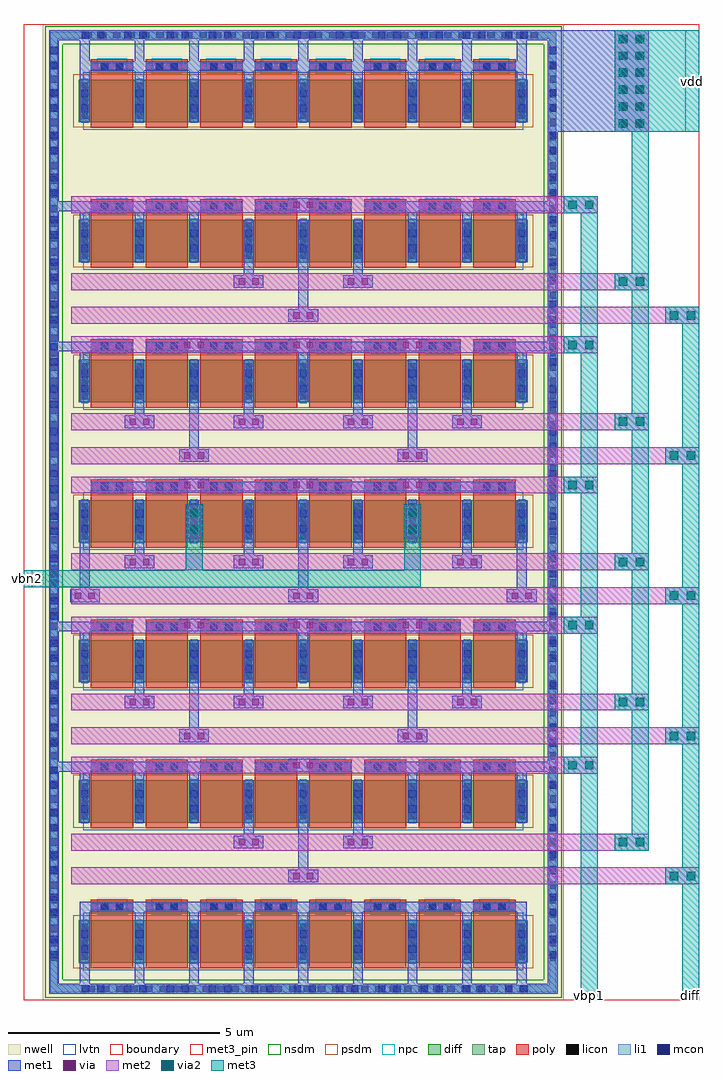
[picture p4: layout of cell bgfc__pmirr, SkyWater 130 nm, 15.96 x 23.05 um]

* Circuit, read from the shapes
.subckt bgfc__pmirr diff vbn2 vbp1 vdd
XM1 vdd vdd vdd vdd sky130_fd_pr__pfet_01v8_lvt w=1 l=1 m=32
XM2 vdd vbp1 diff vdd sky130_fd_pr__pfet_01v8_lvt w=1 l=1 m=16
XM3 vbn2 vbp1 vdd vdd sky130_fd_pr__pfet_01v8_lvt w=1 l=1 m=4
XM4 vbp1 vbp1 vdd vdd sky130_fd_pr__pfet_01v8_lvt w=1 l=1 m=4
.ends

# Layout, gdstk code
from math import pi, radians
import gdstk
lib = gdstk.Library(unit=1e-6, precision=1e-09)
def R(c, l, rs):  # rectangles x0, y0, x1, y1
    for r in rs: c.add(gdstk.rectangle(r[:2], r[2:], *l))
def A(c, l, x, y, w, h, nx, ny, dx, dy):  # array of equal rectangles
    R(c, l, [(x+i*dx, y+j*dy, x+i*dx+w, y+j*dy+h) for i in range(nx) for j in range(ny)])
nwell = (64, 20)
diff = (65, 20)
tap = (65, 44)
poly = (66, 20)
licon = (66, 44)
li1 = (67, 20)
mcon = (67, 44)
met1 = (68, 20)
via = (68, 44)
met2 = (69, 20)
via2 = (69, 44)
met3_pin = (70, 16)
met3 = (70, 20)
nsdm = (93, 44)
psdm = (94, 20)
npc = (95, 20)
lvtn = (125, 44)
boundary = (235, 4)

via__li_m1 = lib.new_cell('via__LI_M1')
R(via__li_m1, li1, [(0.03,0.03,0.56,0.2)])
R(via__li_m1, mcon, [(0.03,0.03,0.2,0.2), (0.39,0.03,0.56,0.2)])
R(via__li_m1, met1, [(0,0,0.59,0.23)])

bgfcpm__dum = lib.new_cell('bgfcpm__DUM')
R(bgfcpm__dum, nwell, [(-0.97,-0.99,0.97,0.82)])
R(bgfcpm__dum, diff, [(-0.79,-0.68,0.79,0.32)])
R(bgfcpm__dum, poly, [(-0.5,-0.81,0.5,0.805)])
A(bgfcpm__dum, licon, -0.73, -0.605, 0.17, 0.17, 1, 3, 0, 0.34)
A(bgfcpm__dum, licon, 0.56, -0.605, 0.17, 0.17, 1, 3, 0, 0.34)
R(bgfcpm__dum, licon, [(-0.255,0.555,-0.085,0.725), (0.085,0.555,0.255,0.725)])
R(bgfcpm__dum, li1, [(-0.73,-0.7,-0.56,0.34), (0.56,-0.7,0.73,0.34), (-0.5,0.555,0.5,0.725)])
R(bgfcpm__dum, mcon, [(-0.73,-0.445,-0.56,-0.275), (0.56,-0.445,0.73,-0.275), (-0.73,-0.085,-0.56,0.085), (0.56,-0.085,0.73,0.085), (-0.265,0.555,-0.095,0.725), (0.095,0.555,0.265,0.725)])
R(bgfcpm__dum, met1, [(-0.76,-0.68,-0.53,0.32), (0.53,-0.68,0.76,0.32), (-0.48,0.525,0.48,0.755)])
R(bgfcpm__dum, psdm, [(-0.915,-0.805,0.915,0.445)])
R(bgfcpm__dum, npc, [(-0.355,0.455,0.355,0.825)])
R(bgfcpm__dum, lvtn, [(-0.68,-0.86,0.68,0.5)])

via__m1_m2 = lib.new_cell('via__M1_M2')
R(via__m1_m2, met1, [(0,0.05,0.7,0.35)])
R(via__m1_m2, via, [(0.115,0.125,0.265,0.275), (0.435,0.125,0.585,0.275)])
R(via__m1_m2, met2, [(0.05,0,0.65,0.4)])

via__m2_m3 = lib.new_cell('via__M2_M3')
R(via__m2_m3, met2, [(0,0,0.8,0.4)])
R(via__m2_m3, via2, [(0.1,0.1,0.3,0.3), (0.5,0.1,0.7,0.3)])
R(via__m2_m3, met3, [(0,0,0.8,0.4)])

bgfcpm__m1 = lib.new_cell('bgfcpm__M1')
R(bgfcpm__m1, nwell, [(-0.97,-0.99,0.97,0.82)])
R(bgfcpm__m1, diff, [(-0.79,-0.68,0.79,0.32)])
R(bgfcpm__m1, poly, [(-0.5,-0.81,0.5,0.805)])
A(bgfcpm__m1, licon, -0.73, -0.605, 0.17, 0.17, 1, 3, 0, 0.34)
A(bgfcpm__m1, licon, 0.56, -0.605, 0.17, 0.17, 1, 3, 0, 0.34)
R(bgfcpm__m1, licon, [(-0.255,0.555,-0.085,0.725), (0.085,0.555,0.255,0.725)])
R(bgfcpm__m1, li1, [(-0.73,-0.7,-0.56,0.34), (0.56,-0.7,0.73,0.34), (-0.5,0.555,0.5,0.725)])
R(bgfcpm__m1, mcon, [(-0.73,-0.445,-0.56,-0.275), (0.56,-0.445,0.73,-0.275), (-0.73,-0.085,-0.56,0.085), (0.56,-0.085,0.73,0.085), (-0.265,0.555,-0.095,0.725), (0.095,0.555,0.265,0.725)])
R(bgfcpm__m1, met1, [(-0.76,-0.68,-0.53,0.32), (0.53,-0.68,0.76,0.32), (-0.48,0.525,0.48,0.755)])
R(bgfcpm__m1, psdm, [(-0.915,-0.805,0.915,0.445)])
R(bgfcpm__m1, npc, [(-0.355,0.455,0.355,0.825)])
R(bgfcpm__m1, lvtn, [(-0.68,-0.86,0.68,0.5)])

bgfcpm__mb2 = lib.new_cell('bgfcpm__MB2')
R(bgfcpm__mb2, nwell, [(-0.97,-0.99,0.97,0.82)])
R(bgfcpm__mb2, diff, [(-0.79,-0.68,0.79,0.32)])
R(bgfcpm__mb2, poly, [(-0.5,-0.81,0.5,0.805)])
A(bgfcpm__mb2, licon, -0.73, -0.605, 0.17, 0.17, 1, 3, 0, 0.34)
A(bgfcpm__mb2, licon, 0.56, -0.605, 0.17, 0.17, 1, 3, 0, 0.34)
R(bgfcpm__mb2, licon, [(-0.255,0.555,-0.085,0.725), (0.085,0.555,0.255,0.725)])
R(bgfcpm__mb2, li1, [(-0.73,-0.7,-0.56,0.34), (0.56,-0.7,0.73,0.34), (-0.5,0.555,0.5,0.725)])
R(bgfcpm__mb2, mcon, [(-0.73,-0.445,-0.56,-0.275), (0.56,-0.445,0.73,-0.275), (-0.73,-0.085,-0.56,0.085), (0.56,-0.085,0.73,0.085), (-0.265,0.555,-0.095,0.725), (0.095,0.555,0.265,0.725)])
R(bgfcpm__mb2, met1, [(-0.76,-0.68,-0.53,0.32), (0.53,-0.68,0.76,0.32), (-0.48,0.525,0.48,0.755)])
R(bgfcpm__mb2, psdm, [(-0.915,-0.805,0.915,0.445)])
R(bgfcpm__mb2, npc, [(-0.355,0.455,0.355,0.825)])
R(bgfcpm__mb2, lvtn, [(-0.68,-0.86,0.68,0.5)])

bgfcpm__mb3 = lib.new_cell('bgfcpm__MB3')
R(bgfcpm__mb3, nwell, [(-0.97,-0.99,0.97,0.82)])
R(bgfcpm__mb3, diff, [(-0.79,-0.68,0.79,0.32)])
R(bgfcpm__mb3, poly, [(-0.5,-0.81,0.5,0.805)])
A(bgfcpm__mb3, licon, -0.73, -0.605, 0.17, 0.17, 1, 3, 0, 0.34)
A(bgfcpm__mb3, licon, 0.56, -0.605, 0.17, 0.17, 1, 3, 0, 0.34)
R(bgfcpm__mb3, licon, [(-0.255,0.555,-0.085,0.725), (0.085,0.555,0.255,0.725)])
R(bgfcpm__mb3, li1, [(-0.73,-0.7,-0.56,0.34), (0.56,-0.7,0.73,0.34), (-0.5,0.555,0.5,0.725)])
R(bgfcpm__mb3, mcon, [(-0.73,-0.445,-0.56,-0.275), (0.56,-0.445,0.73,-0.275), (-0.73,-0.085,-0.56,0.085), (0.56,-0.085,0.73,0.085), (-0.265,0.555,-0.095,0.725), (0.095,0.555,0.265,0.725)])
R(bgfcpm__mb3, met1, [(-0.76,-0.68,-0.53,0.32), (0.53,-0.68,0.76,0.32), (-0.48,0.525,0.48,0.755)])
R(bgfcpm__mb3, psdm, [(-0.915,-0.805,0.915,0.445)])
R(bgfcpm__mb3, npc, [(-0.355,0.455,0.355,0.825)])
R(bgfcpm__mb3, lvtn, [(-0.68,-0.86,0.68,0.5)])

bgfcpm__guardring_p = lib.new_cell('bgfcpm__Guardring_P')
R(bgfcpm__guardring_p, nwell, [(-57.04,60.405,-44.73,83.46)])
R(bgfcpm__guardring_p, tap, [(-56.86,60.585,-44.91,60.755), (-56.86,60.755,-56.69,83.11), (-45.08,60.755,-44.91,83.11), (-56.86,83.11,-44.91,83.28)])
A(bgfcpm__guardring_p, licon, -56.16, 60.585, 0.17, 0.17, 31, 1, 0.34, 0)
A(bgfcpm__guardring_p, licon, -56.86, 61.33, 0.17, 0.17, 1, 63, 0, 0.34)
A(bgfcpm__guardring_p, licon, -45.08, 61.33, 0.17, 0.17, 1, 63, 0, 0.34)
A(bgfcpm__guardring_p, licon, -56.425, 83.11, 0.17, 0.17, 32, 1, 0.34, 0)
R(bgfcpm__guardring_p, li1, [(-56.86,60.585,-44.91,60.755), (-56.86,60.755,-56.69,83.11), (-45.08,60.755,-44.91,83.11), (-56.86,83.11,-44.91,83.28)])
R(bgfcpm__guardring_p, nsdm, [(-56.985,60.46,-44.785,60.88), (-56.985,60.88,-56.565,82.985), (-45.205,60.88,-44.785,82.985), (-56.985,82.985,-44.785,83.405)])

bgfc__pmirr = lib.new_cell('bgfc__pmirr')
A(bgfc__pmirr, met1, 1.33, 0.38, 0.23, 0.5, 9, 2, 1.29, 21.795)
A(bgfc__pmirr, met1, 1.33, 1.76, 0.23, 0.325, 9, 2, 1.29, 19.86)
A(bgfc__pmirr, met1, 1.33, 5.19, 0.23, 0.205, 3, 2, 1.29, 13.24)
A(bgfc__pmirr, met1, 9.07, 5.19, 0.23, 0.205, 3, 2, 1.29, 13.24)
A(bgfc__pmirr, met1, 2.62, 7.075, 0.23, 0.425, 4, 3, 2.58, 3.31)
A(bgfc__pmirr, met1, 1.33, 8.5, 0.23, 0.205, 3, 2, 5.16, 6.62)
A(bgfc__pmirr, met1, 1.33, 9.585, 0.23, 1.225, 3, 1, 5.16, 0)
R(bgfc__pmirr, met1, [(0.6,0.15,12.61,0.38), (0.6,0.38,0.83,5.395), (12.38,0.38,12.61,5.395), (1.33,2.085,11.88,2.315), (6.49,2.965,6.72,4.19), (5.2,3.765,5.43,4.19), (7.78,3.765,8.01,4.19), (0.6,5.395,5.15,5.625), (5.48,5.395,7.73,5.625), (8.06,5.395,12.61,5.625), (0.6,5.625,0.83,8.705), (12.38,5.625,12.61,8.705), (3.91,6.275,4.14,7.5), (9.07,6.275,9.3,7.5), (0.6,8.705,2.57,8.935), (2.9,8.705,10.31,8.935), (10.64,8.705,12.61,8.935), (0.6,8.935,0.83,15.325), (12.38,8.935,12.61,15.325), (1.61,12.015,11.6,12.245), (3.91,12.895,4.14,14.12), (9.07,12.895,9.3,14.12), (0.6,15.325,2.57,15.555), (2.9,15.325,10.31,15.555), (10.64,15.325,12.61,15.555), (0.6,15.555,0.83,18.635), (12.38,15.555,12.61,18.635), (6.49,16.205,6.72,17.43), (5.2,17.005,5.43,17.43), (7.78,17.005,8.01,17.43), (0.6,18.635,5.15,18.865), (5.48,18.635,7.73,18.865), (8.06,18.635,12.61,18.865), (0.6,18.865,0.83,22.675), (12.38,18.865,12.61,20.505), (12.38,20.505,14.76,22.675), (1.33,21.945,11.88,22.175), (0.6,22.675,14.76,22.905)])
A(bgfc__pmirr, met2, 1.12, 2.73, 14.84, 0.4, 1, 5, 0, 3.31)
A(bgfc__pmirr, met2, 1.12, 3.53, 13.64, 0.4, 1, 5, 0, 3.31)
A(bgfc__pmirr, met2, 1.12, 5.345, 12.44, 0.4, 1, 5, 0, 3.31)
R(bgfc__pmirr, met3_pin, [(13.16,0,13.56,0.2), (15.56,0,15.96,0.2), (0,9.75,0.2,10.15), (15.63,20.505,15.96,22.905)])
R(bgfc__pmirr, met3, [(13.16,0,13.56,18.985), (15.56,0,15.96,16.37), (14.36,3.53,14.76,20.505), (0,9.75,9.385,10.15), (3.825,10.15,4.225,11.71), (8.985,10.15,9.385,11.71), (13.96,20.505,15.96,22.905)])
R(bgfc__pmirr, boundary, [(0,0,15.96,23.055)])
bgfc__pmirr.add(gdstk.Reference(via__li_m1, (2.935,0.15), rotation=pi, x_reflection=True))
bgfc__pmirr.add(gdstk.Reference(via__li_m1, (1.935,0.15), rotation=pi, x_reflection=True))
bgfc__pmirr.add(gdstk.Reference(via__li_m1, (0.83,1.545), rotation=3*pi/2, x_reflection=True))
bgfc__pmirr.add(gdstk.Reference(bgfcpm__dum, (2.09,1.56), rotation=pi, x_reflection=True))
bgfc__pmirr.add(gdstk.Reference(via__li_m1, (4.935,0.15), rotation=pi, x_reflection=True))
bgfc__pmirr.add(gdstk.Reference(via__li_m1, (3.935,0.15), rotation=pi, x_reflection=True))
bgfc__pmirr.add(gdstk.Reference(bgfcpm__dum, (4.67,1.56), rotation=pi, x_reflection=True))
bgfc__pmirr.add(gdstk.Reference(bgfcpm__dum, (3.38,1.56), rotation=pi, x_reflection=True))
bgfc__pmirr.add(gdstk.Reference(via__li_m1, (5.935,0.15), rotation=pi, x_reflection=True))
bgfc__pmirr.add(gdstk.Reference(bgfcpm__dum, (5.96,1.56), rotation=pi, x_reflection=True))
bgfc__pmirr.add(gdstk.Reference(bgfcpm__dum, (7.25,1.56), rotation=pi, x_reflection=True))
bgfc__pmirr.add(gdstk.Reference(via__li_m1, (7.935,0.15), rotation=pi, x_reflection=True))
bgfc__pmirr.add(gdstk.Reference(via__li_m1, (6.935,0.15), rotation=pi, x_reflection=True))
bgfc__pmirr.add(gdstk.Reference(bgfcpm__dum, (8.54,1.56), rotation=pi, x_reflection=True))
bgfc__pmirr.add(gdstk.Reference(via__li_m1, (9.935,0.15), rotation=pi, x_reflection=True))
bgfc__pmirr.add(gdstk.Reference(via__li_m1, (8.935,0.15), rotation=pi, x_reflection=True))
bgfc__pmirr.add(gdstk.Reference(bgfcpm__dum, (9.83,1.56), rotation=pi, x_reflection=True))
bgfc__pmirr.add(gdstk.Reference(bgfcpm__dum, (11.12,1.56), rotation=pi, x_reflection=True))
bgfc__pmirr.add(gdstk.Reference(via__li_m1, (11.935,0.15), rotation=pi, x_reflection=True))
bgfc__pmirr.add(gdstk.Reference(via__li_m1, (10.935,0.15), rotation=pi, x_reflection=True))
bgfc__pmirr.add(gdstk.Reference(via__li_m1, (12.61,1.545), rotation=3*pi/2, x_reflection=True))
bgfc__pmirr.add(gdstk.Reference(via__li_m1, (0.83,2.545), rotation=3*pi/2, x_reflection=True))
bgfc__pmirr.add(gdstk.Reference(via__li_m1, (0.83,3.545), rotation=3*pi/2, x_reflection=True))
bgfc__pmirr.add(gdstk.Reference(via__m1_m2, (6.955,2.73), rotation=pi, x_reflection=True))
bgfc__pmirr.add(gdstk.Reference(via__m1_m2, (5.665,3.53), rotation=pi, x_reflection=True))
bgfc__pmirr.add(gdstk.Reference(via__m1_m2, (8.245,3.53), rotation=pi, x_reflection=True))
bgfc__pmirr.add(gdstk.Reference(via__li_m1, (12.61,2.545), rotation=3*pi/2, x_reflection=True))
bgfc__pmirr.add(gdstk.Reference(via__li_m1, (12.61,3.545), rotation=3*pi/2, x_reflection=True))
bgfc__pmirr.add(gdstk.Reference(via__m2_m3, (13.96,3.53)))
bgfc__pmirr.add(gdstk.Reference(via__m2_m3, (15.16,2.73)))
bgfc__pmirr.add(gdstk.Reference(via__li_m1, (0.83,4.545), rotation=3*pi/2, x_reflection=True))
bgfc__pmirr.add(gdstk.Reference(via__li_m1, (0.83,5.545), rotation=3*pi/2, x_reflection=True))
bgfc__pmirr.add(gdstk.Reference(bgfcpm__dum, (2.09,4.87), rotation=pi, x_reflection=True))
bgfc__pmirr.add(gdstk.Reference(bgfcpm__dum, (3.38,4.87), rotation=pi, x_reflection=True))
bgfc__pmirr.add(gdstk.Reference(bgfcpm__dum, (4.67,4.87), rotation=pi, x_reflection=True))
bgfc__pmirr.add(gdstk.Reference(bgfcpm__m1, (5.96,4.87), rotation=pi, x_reflection=True))
bgfc__pmirr.add(gdstk.Reference(via__m1_m2, (6.955,5.345), rotation=pi, x_reflection=True))
bgfc__pmirr.add(gdstk.Reference(bgfcpm__m1, (7.25,4.87), rotation=pi, x_reflection=True))
bgfc__pmirr.add(gdstk.Reference(bgfcpm__dum, (8.54,4.87), rotation=pi, x_reflection=True))
bgfc__pmirr.add(gdstk.Reference(bgfcpm__dum, (9.83,4.87), rotation=pi, x_reflection=True))
bgfc__pmirr.add(gdstk.Reference(bgfcpm__dum, (11.12,4.87), rotation=pi, x_reflection=True))
bgfc__pmirr.add(gdstk.Reference(via__li_m1, (12.61,4.545), rotation=3*pi/2, x_reflection=True))
bgfc__pmirr.add(gdstk.Reference(via__li_m1, (12.61,5.545), rotation=3*pi/2, x_reflection=True))
bgfc__pmirr.add(gdstk.Reference(via__m2_m3, (12.76,5.345)))
bgfc__pmirr.add(gdstk.Reference(via__li_m1, (0.83,7.545), rotation=3*pi/2, x_reflection=True))
bgfc__pmirr.add(gdstk.Reference(via__li_m1, (0.83,6.545), rotation=3*pi/2, x_reflection=True))
bgfc__pmirr.add(gdstk.Reference(via__m1_m2, (3.085,6.84), rotation=pi, x_reflection=True))
bgfc__pmirr.add(gdstk.Reference(bgfcpm__dum, (2.09,8.18), rotation=pi, x_reflection=True))
bgfc__pmirr.add(gdstk.Reference(via__m1_m2, (4.375,6.04), rotation=pi, x_reflection=True))
bgfc__pmirr.add(gdstk.Reference(bgfcpm__m1, (4.67,8.18), rotation=pi, x_reflection=True))
bgfc__pmirr.add(gdstk.Reference(bgfcpm__m1, (3.38,8.18), rotation=pi, x_reflection=True))
bgfc__pmirr.add(gdstk.Reference(via__m1_m2, (5.665,6.84), rotation=pi, x_reflection=True))
bgfc__pmirr.add(gdstk.Reference(bgfcpm__mb2, (5.96,8.18), rotation=pi, x_reflection=True))
bgfc__pmirr.add(gdstk.Reference(bgfcpm__mb2, (7.25,8.18), rotation=pi, x_reflection=True))
bgfc__pmirr.add(gdstk.Reference(via__m1_m2, (8.245,6.84), rotation=pi, x_reflection=True))
bgfc__pmirr.add(gdstk.Reference(bgfcpm__m1, (8.54,8.18), rotation=pi, x_reflection=True))
bgfc__pmirr.add(gdstk.Reference(bgfcpm__m1, (9.83,8.18), rotation=pi, x_reflection=True))
bgfc__pmirr.add(gdstk.Reference(via__m1_m2, (10.825,6.84), rotation=pi, x_reflection=True))
bgfc__pmirr.add(gdstk.Reference(bgfcpm__dum, (11.12,8.18), rotation=pi, x_reflection=True))
bgfc__pmirr.add(gdstk.Reference(via__m1_m2, (9.535,6.04), rotation=pi, x_reflection=True))
bgfc__pmirr.add(gdstk.Reference(via__li_m1, (12.61,6.545), rotation=3*pi/2, x_reflection=True))
bgfc__pmirr.add(gdstk.Reference(via__li_m1, (12.61,7.545), rotation=3*pi/2, x_reflection=True))
bgfc__pmirr.add(gdstk.Reference(via__m2_m3, (13.96,6.84)))
bgfc__pmirr.add(gdstk.Reference(via__m2_m3, (15.16,6.04)))
bgfc__pmirr.add(gdstk.Reference(via__li_m1, (0.83,8.545), rotation=3*pi/2, x_reflection=True))
bgfc__pmirr.add(gdstk.Reference(via__li_m1, (0.83,9.545), rotation=3*pi/2, x_reflection=True))
bgfc__pmirr.add(gdstk.Reference(via__m1_m2, (4.375,8.655), rotation=pi, x_reflection=True))
bgfc__pmirr.add(gdstk.Reference(via__m1_m2, (6.955,8.655), rotation=pi, x_reflection=True))
bgfc__pmirr.add(gdstk.Reference(via__m1_m2, (9.535,8.655), rotation=pi, x_reflection=True))
bgfc__pmirr.add(gdstk.Reference(via__li_m1, (12.61,8.545), rotation=3*pi/2, x_reflection=True))
bgfc__pmirr.add(gdstk.Reference(via__li_m1, (12.61,9.545), rotation=3*pi/2, x_reflection=True))
bgfc__pmirr.add(gdstk.Reference(via__m2_m3, (12.76,8.655)))
bgfc__pmirr.add(gdstk.Reference(via__li_m1, (0.83,10.545), rotation=3*pi/2, x_reflection=True))
bgfc__pmirr.add(gdstk.Reference(via__m1_m2, (1.795,9.35), rotation=pi, x_reflection=True))
bgfc__pmirr.add(gdstk.Reference(via__m1_m2, (3.085,10.15), rotation=pi, x_reflection=True))
bgfc__pmirr.add(gdstk.Reference(bgfcpm__m1, (2.09,11.49), rotation=pi, x_reflection=True))
bgfc__pmirr.add(gdstk.Reference(bgfcpm__mb3, (4.67,11.49), rotation=pi, x_reflection=True))
bgfc__pmirr.add(gdstk.Reference(bgfcpm__mb3, (3.38,11.49), rotation=pi, x_reflection=True))
bgfc__pmirr.add(gdstk.Reference(via__m1_m2, (5.665,10.15), rotation=pi, x_reflection=True))
bgfc__pmirr.add(gdstk.Reference(via__m1_m2, (6.955,9.35), rotation=pi, x_reflection=True))
bgfc__pmirr.add(gdstk.Reference(bgfcpm__m1, (7.25,11.49), rotation=pi, x_reflection=True))
bgfc__pmirr.add(gdstk.Reference(bgfcpm__m1, (5.96,11.49), rotation=pi, x_reflection=True))
bgfc__pmirr.add(gdstk.Reference(via__m1_m2, (8.245,10.15), rotation=pi, x_reflection=True))
bgfc__pmirr.add(gdstk.Reference(bgfcpm__mb3, (8.54,11.49), rotation=pi, x_reflection=True))
bgfc__pmirr.add(gdstk.Reference(via__m1_m2, (10.825,10.15), rotation=pi, x_reflection=True))
bgfc__pmirr.add(gdstk.Reference(bgfcpm__m1, (11.12,11.49), rotation=pi, x_reflection=True))
bgfc__pmirr.add(gdstk.Reference(bgfcpm__mb3, (9.83,11.49), rotation=pi, x_reflection=True))
bgfc__pmirr.add(gdstk.Reference(via__m1_m2, (12.115,9.35), rotation=pi, x_reflection=True))
bgfc__pmirr.add(gdstk.Reference(via__li_m1, (12.61,10.545), rotation=3*pi/2, x_reflection=True))
bgfc__pmirr.add(gdstk.Reference(via__m2_m3, (13.96,10.15)))
bgfc__pmirr.add(gdstk.Reference(via__m2_m3, (15.16,9.35)))
bgfc__pmirr.add(gdstk.Reference(via__li_m1, (0.83,11.545), rotation=3*pi/2, x_reflection=True))
bgfc__pmirr.add(gdstk.Reference(via__m1_m2, (4.225,11.66), rotation=3*pi/2, x_reflection=True))
bgfc__pmirr.add(gdstk.Reference(via__m2_m3, (3.825,11.71), rotation=3*pi/2))
bgfc__pmirr.add(gdstk.Reference(via__m1_m2, (9.385,11.66), rotation=3*pi/2, x_reflection=True))
bgfc__pmirr.add(gdstk.Reference(via__m2_m3, (8.985,11.71), rotation=3*pi/2))
bgfc__pmirr.add(gdstk.Reference(via__li_m1, (12.61,11.545), rotation=3*pi/2, x_reflection=True))
bgfc__pmirr.add(gdstk.Reference(via__li_m1, (0.83,12.545), rotation=3*pi/2, x_reflection=True))
bgfc__pmirr.add(gdstk.Reference(via__li_m1, (0.83,13.545), rotation=3*pi/2, x_reflection=True))
bgfc__pmirr.add(gdstk.Reference(via__m1_m2, (4.375,11.965), rotation=pi, x_reflection=True))
bgfc__pmirr.add(gdstk.Reference(via__m1_m2, (4.375,12.66), rotation=pi, x_reflection=True))
bgfc__pmirr.add(gdstk.Reference(via__m1_m2, (6.955,11.965), rotation=pi, x_reflection=True))
bgfc__pmirr.add(gdstk.Reference(via__m1_m2, (9.535,11.965), rotation=pi, x_reflection=True))
bgfc__pmirr.add(gdstk.Reference(via__m1_m2, (9.535,12.66), rotation=pi, x_reflection=True))
bgfc__pmirr.add(gdstk.Reference(via__li_m1, (12.61,12.545), rotation=3*pi/2, x_reflection=True))
bgfc__pmirr.add(gdstk.Reference(via__li_m1, (12.61,13.545), rotation=3*pi/2, x_reflection=True))
bgfc__pmirr.add(gdstk.Reference(via__m2_m3, (12.76,11.965)))
bgfc__pmirr.add(gdstk.Reference(via__m2_m3, (15.16,12.66)))
bgfc__pmirr.add(gdstk.Reference(via__li_m1, (0.83,14.545), rotation=3*pi/2, x_reflection=True))
bgfc__pmirr.add(gdstk.Reference(via__li_m1, (0.83,15.545), rotation=3*pi/2, x_reflection=True))
bgfc__pmirr.add(gdstk.Reference(bgfcpm__dum, (2.09,14.8), rotation=pi, x_reflection=True))
bgfc__pmirr.add(gdstk.Reference(via__m1_m2, (3.085,13.46), rotation=pi, x_reflection=True))
bgfc__pmirr.add(gdstk.Reference(bgfcpm__m1, (3.38,14.8), rotation=pi, x_reflection=True))
bgfc__pmirr.add(gdstk.Reference(bgfcpm__m1, (4.67,14.8), rotation=pi, x_reflection=True))
bgfc__pmirr.add(gdstk.Reference(bgfcpm__mb2, (5.96,14.8), rotation=pi, x_reflection=True))
bgfc__pmirr.add(gdstk.Reference(via__m1_m2, (5.665,13.46), rotation=pi, x_reflection=True))
bgfc__pmirr.add(gdstk.Reference(bgfcpm__mb2, (7.25,14.8), rotation=pi, x_reflection=True))
bgfc__pmirr.add(gdstk.Reference(via__m1_m2, (8.245,13.46), rotation=pi, x_reflection=True))
bgfc__pmirr.add(gdstk.Reference(bgfcpm__m1, (8.54,14.8), rotation=pi, x_reflection=True))
bgfc__pmirr.add(gdstk.Reference(bgfcpm__dum, (11.12,14.8), rotation=pi, x_reflection=True))
bgfc__pmirr.add(gdstk.Reference(bgfcpm__m1, (9.83,14.8), rotation=pi, x_reflection=True))
bgfc__pmirr.add(gdstk.Reference(via__m1_m2, (10.825,13.46), rotation=pi, x_reflection=True))
bgfc__pmirr.add(gdstk.Reference(via__li_m1, (12.61,14.545), rotation=3*pi/2, x_reflection=True))
bgfc__pmirr.add(gdstk.Reference(via__li_m1, (12.61,15.545), rotation=3*pi/2, x_reflection=True))
bgfc__pmirr.add(gdstk.Reference(via__m2_m3, (13.96,13.46)))
bgfc__pmirr.add(gdstk.Reference(via__li_m1, (0.83,16.545), rotation=3*pi/2, x_reflection=True))
bgfc__pmirr.add(gdstk.Reference(via__li_m1, (0.83,17.545), rotation=3*pi/2, x_reflection=True))
bgfc__pmirr.add(gdstk.Reference(via__m1_m2, (4.375,15.275), rotation=pi, x_reflection=True))
bgfc__pmirr.add(gdstk.Reference(via__m1_m2, (5.665,16.77), rotation=pi, x_reflection=True))
bgfc__pmirr.add(gdstk.Reference(via__m1_m2, (6.955,15.275), rotation=pi, x_reflection=True))
bgfc__pmirr.add(gdstk.Reference(via__m1_m2, (6.955,15.97), rotation=pi, x_reflection=True))
bgfc__pmirr.add(gdstk.Reference(via__m1_m2, (8.245,16.77), rotation=pi, x_reflection=True))
bgfc__pmirr.add(gdstk.Reference(via__m1_m2, (9.535,15.275), rotation=pi, x_reflection=True))
bgfc__pmirr.add(gdstk.Reference(via__li_m1, (12.61,16.545), rotation=3*pi/2, x_reflection=True))
bgfc__pmirr.add(gdstk.Reference(via__li_m1, (12.61,17.545), rotation=3*pi/2, x_reflection=True))
bgfc__pmirr.add(gdstk.Reference(via__m2_m3, (13.96,16.77)))
bgfc__pmirr.add(gdstk.Reference(via__m2_m3, (12.76,15.275)))
bgfc__pmirr.add(gdstk.Reference(via__m2_m3, (15.16,15.97)))
bgfc__pmirr.add(gdstk.Reference(via__li_m1, (0.83,18.545), rotation=3*pi/2, x_reflection=True))
bgfc__pmirr.add(gdstk.Reference(bgfcpm__dum, (2.09,18.11), rotation=pi, x_reflection=True))
bgfc__pmirr.add(gdstk.Reference(bgfcpm__dum, (3.38,18.11), rotation=pi, x_reflection=True))
bgfc__pmirr.add(gdstk.Reference(bgfcpm__dum, (4.67,18.11), rotation=pi, x_reflection=True))
bgfc__pmirr.add(gdstk.Reference(bgfcpm__m1, (5.96,18.11), rotation=pi, x_reflection=True))
bgfc__pmirr.add(gdstk.Reference(via__m1_m2, (6.955,18.585), rotation=pi, x_reflection=True))
bgfc__pmirr.add(gdstk.Reference(bgfcpm__m1, (7.25,18.11), rotation=pi, x_reflection=True))
bgfc__pmirr.add(gdstk.Reference(bgfcpm__dum, (8.54,18.11), rotation=pi, x_reflection=True))
bgfc__pmirr.add(gdstk.Reference(bgfcpm__dum, (11.12,18.11), rotation=pi, x_reflection=True))
bgfc__pmirr.add(gdstk.Reference(bgfcpm__dum, (9.83,18.11), rotation=pi, x_reflection=True))
bgfc__pmirr.add(gdstk.Reference(via__li_m1, (12.61,18.545), rotation=3*pi/2, x_reflection=True))
bgfc__pmirr.add(gdstk.Reference(via__m2_m3, (12.76,18.585)))
bgfc__pmirr.add(gdstk.Reference(via__li_m1, (0.83,19.545), rotation=3*pi/2, x_reflection=True))
bgfc__pmirr.add(gdstk.Reference(via__li_m1, (0.83,20.545), rotation=3*pi/2, x_reflection=True))
bgfc__pmirr.add(gdstk.Reference(bgfcpm__dum, (2.09,21.42), rotation=pi, x_reflection=True))
bgfc__pmirr.add(gdstk.Reference(bgfcpm__dum, (4.67,21.42), rotation=pi, x_reflection=True))
bgfc__pmirr.add(gdstk.Reference(bgfcpm__dum, (3.38,21.42), rotation=pi, x_reflection=True))
bgfc__pmirr.add(gdstk.Reference(bgfcpm__dum, (5.96,21.42), rotation=pi, x_reflection=True))
bgfc__pmirr.add(gdstk.Reference(bgfcpm__dum, (7.25,21.42), rotation=pi, x_reflection=True))
bgfc__pmirr.add(gdstk.Reference(bgfcpm__dum, (8.54,21.42), rotation=pi, x_reflection=True))
bgfc__pmirr.add(gdstk.Reference(bgfcpm__dum, (9.83,21.42), rotation=pi, x_reflection=True))
bgfc__pmirr.add(gdstk.Reference(bgfcpm__dum, (11.12,21.42), rotation=pi, x_reflection=True))
bgfc__pmirr.add(gdstk.Reference(via__li_m1, (12.61,19.545), rotation=3*pi/2, x_reflection=True))
bgfc__pmirr.add(gdstk.Reference(via__li_m1, (12.61,20.545), rotation=3*pi/2, x_reflection=True))
bgfc__pmirr.add(gdstk.Reference(via__m1_m2, (14.71,20.505), rotation=pi, x_reflection=True))
bgfc__pmirr.add(gdstk.Reference(via__m2_m3, (14.76,20.905), rotation=pi))
bgfc__pmirr.add(gdstk.Reference(via__li_m1, (0.83,21.545), rotation=3*pi/2, x_reflection=True))
bgfc__pmirr.add(gdstk.Reference(via__li_m1, (0.83,22.545), rotation=3*pi/2, x_reflection=True))
bgfc__pmirr.add(gdstk.Reference(via__li_m1, (12.61,21.545), rotation=3*pi/2, x_reflection=True))
bgfc__pmirr.add(gdstk.Reference(via__m2_m3, (14.76,21.305), rotation=pi))
bgfc__pmirr.add(gdstk.Reference(via__m1_m2, (14.71,20.905), rotation=pi, x_reflection=True))
bgfc__pmirr.add(gdstk.Reference(via__m2_m3, (14.76,22.105), rotation=pi))
bgfc__pmirr.add(gdstk.Reference(via__m1_m2, (14.71,21.705), rotation=pi, x_reflection=True))
bgfc__pmirr.add(gdstk.Reference(via__m2_m3, (14.76,21.705), rotation=pi))
bgfc__pmirr.add(gdstk.Reference(via__m1_m2, (14.71,21.305), rotation=pi, x_reflection=True))
bgfc__pmirr.add(gdstk.Reference(via__li_m1, (12.61,22.545), rotation=3*pi/2, x_reflection=True))
bgfc__pmirr.add(gdstk.Reference(via__m2_m3, (14.76,22.505), rotation=pi))
bgfc__pmirr.add(gdstk.Reference(via__m1_m2, (14.71,22.105), rotation=pi, x_reflection=True))
bgfc__pmirr.add(gdstk.Reference(via__li_m1, (2.935,22.675), rotation=pi, x_reflection=True))
bgfc__pmirr.add(gdstk.Reference(via__li_m1, (1.935,22.675), rotation=pi, x_reflection=True))
bgfc__pmirr.add(gdstk.Reference(via__li_m1, (4.935,22.675), rotation=pi, x_reflection=True))
bgfc__pmirr.add(gdstk.Reference(via__li_m1, (3.935,22.675), rotation=pi, x_reflection=True))
bgfc__pmirr.add(gdstk.Reference(via__li_m1, (5.935,22.675), rotation=pi, x_reflection=True))
bgfc__pmirr.add(gdstk.Reference(via__li_m1, (7.935,22.675), rotation=pi, x_reflection=True))
bgfc__pmirr.add(gdstk.Reference(via__li_m1, (6.935,22.675), rotation=pi, x_reflection=True))
bgfc__pmirr.add(gdstk.Reference(via__li_m1, (9.935,22.675), rotation=pi, x_reflection=True))
bgfc__pmirr.add(gdstk.Reference(via__li_m1, (8.935,22.675), rotation=pi, x_reflection=True))
bgfc__pmirr.add(gdstk.Reference(via__li_m1, (11.935,22.675), rotation=pi, x_reflection=True))
bgfc__pmirr.add(gdstk.Reference(via__li_m1, (10.935,22.675), rotation=pi, x_reflection=True))
bgfc__pmirr.add(gdstk.Reference(via__m1_m2, (14.71,22.505), rotation=pi, x_reflection=True))
bgfc__pmirr.add(gdstk.Reference(via__m2_m3, (14.76,22.905), rotation=pi))
bgfc__pmirr.add(gdstk.Reference(bgfcpm__guardring_p, (-44.28,-60.405), rotation=pi, x_reflection=True))
bgfc__pmirr.add(gdstk.Label('vbp1', (13.36,0.1), layer=70, texttype=16))
bgfc__pmirr.add(gdstk.Label('diff', (15.76,0.1), layer=70, texttype=16))
bgfc__pmirr.add(gdstk.Label('vdd', (15.795,21.705), layer=70, texttype=16))
bgfc__pmirr.add(gdstk.Label('vbn2', (0.1,9.95), layer=70, texttype=16))

lib.write_gds('bgfc__pmirr.gds')
